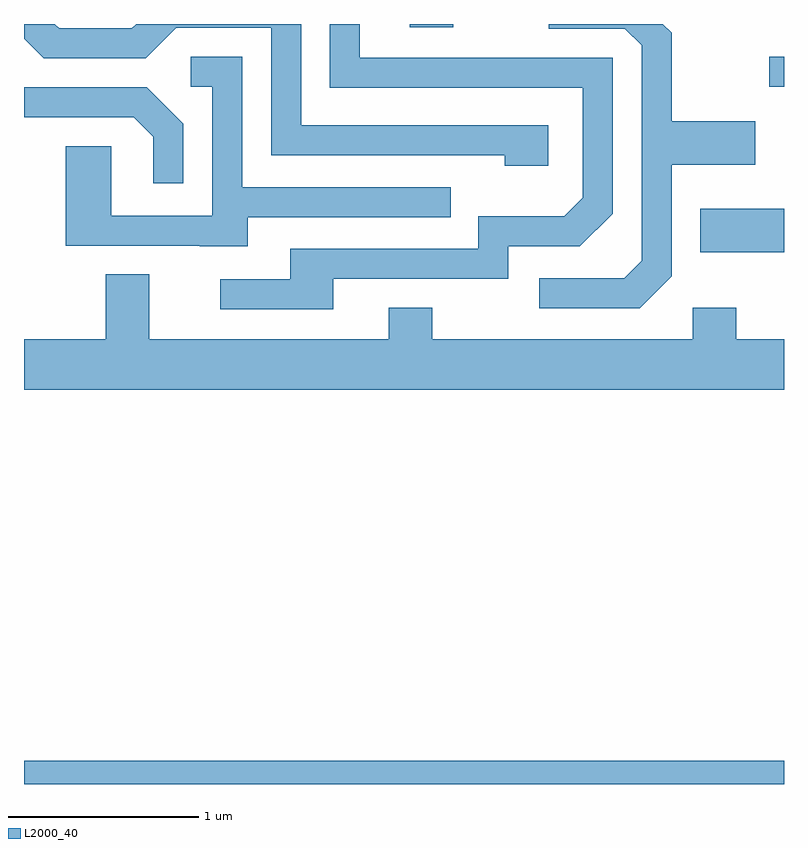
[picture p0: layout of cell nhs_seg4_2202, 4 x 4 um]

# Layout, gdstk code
import gdstk
lib = gdstk.Library(unit=1e-6, precision=1e-09)
def R(c, l, rs):  # rectangles x0, y0, x1, y1
    for r in rs: c.add(gdstk.rectangle(r[:2], r[2:], *l))
def P(c, l, *ps):  # polygons
    for p in ps: c.add(gdstk.Polygon(p, *l))
L2000_40 = (2000, 40)

nhs_seg4_2202 = lib.new_cell('nhs_seg4_2202')
R(nhs_seg4_2202, L2000_40, [(249.611,1305.982,253.611,1306.104), (253.171,1308.781,253.611,1309.009), (253.533,1309.651,253.611,1309.809), (251.641,1309.966,251.869,1309.982)])
P(nhs_seg4_2202, L2000_40, [(253.019,1308.654),(253.019,1309.241),(253.459,1309.241),(253.459,1309.469),(253.019,1309.469),(253.019,1309.937),(252.974,1309.982),(252.373,1309.982),(252.373,1309.956),(252.774,1309.956),(252.861,1309.869),(252.861,1308.737),(252.769,1308.644),(252.323,1308.644),(252.323,1308.486),(252.852,1308.486)],
  [(252.369,1309.449),(251.069,1309.449),(251.069,1309.982),(250.202,1309.982),(250.179,1309.959),(249.797,1309.959),(249.774,1309.982),(249.611,1309.982),(249.611,1309.904),(249.714,1309.801),(250.252,1309.801),(250.412,1309.961),(250.911,1309.961),(250.911,1309.291),(252.141,1309.291),(252.141,1309.236),(252.369,1309.236)],
  [(251.239,1308.641),(252.159,1308.641),(252.159,1308.811),(252.537,1308.811),(252.709,1308.984),(252.709,1309.804),(251.379,1309.804),(251.379,1309.982),(251.221,1309.982),(251.221,1309.646),(252.551,1309.646),(252.551,1309.067),(252.454,1308.969),(252.001,1308.969),(252.001,1308.799),(251.011,1308.799),(251.011,1308.639),(250.643,1308.639),(250.643,1308.481),(251.239,1308.481)],
  [(250.789,1308.966),(251.858,1308.966),(251.858,1309.124),(250.759,1309.124),(250.759,1309.809),(250.488,1309.809),(250.488,1309.651),(250.601,1309.651),(250.601,1308.974),(250.069,1308.974),(250.069,1309.339),(249.831,1309.339),(249.831,1308.816),(250.535,1308.816),(250.535,1308.811),(250.789,1308.811)],
  [(250.449,1309.457),(250.257,1309.649),(249.611,1309.649),(249.611,1309.491),(250.189,1309.491),(250.291,1309.389),(250.291,1309.143),(250.449,1309.143)],
  [(253.611,1308.324),(253.359,1308.324),(253.359,1308.489),(253.131,1308.489),(253.131,1308.324),(251.759,1308.324),(251.759,1308.489),(251.531,1308.489),(251.531,1308.324),(250.269,1308.324),(250.269,1308.664),(250.041,1308.664),(250.041,1308.324),(249.611,1308.324),(249.611,1308.056),(253.611,1308.056)])

lib.write_gds('nhs_seg4_2202.gds')
